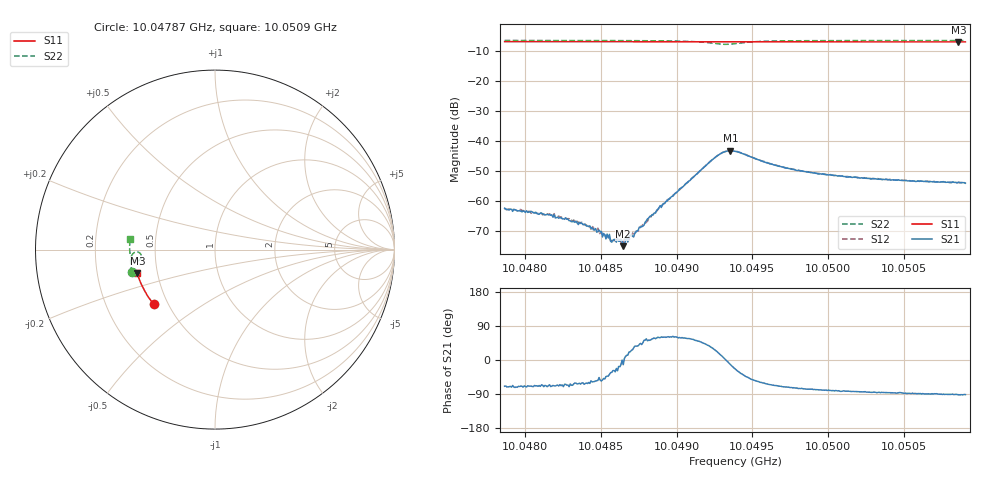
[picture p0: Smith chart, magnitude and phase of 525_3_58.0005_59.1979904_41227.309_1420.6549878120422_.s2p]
#  HZ  S  RI  R  50.00
! Rohde & Schwarz Vector Network Analyzer
! Rohde-Schwarz,ZNB20-2Port,1311601062101988,3.16
! Created: UTC 3/21/2024, 1:13:52 AM
! freq[Hz]  re:S11  im:S11  re:S21  im:S21  re:S12  im:S12  re:S22  im:S22
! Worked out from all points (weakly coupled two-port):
!   401 points, 10.04787 GHz to 10.0509 GHz, reference 50 ohm
!   highest |S21| = -43.21 dB at 10.04936 GHz (marker M1); lowest = -75.1 dB at 10.04865 GHz (marker M2)
!   lowest |S11| = -6.9 dB at 10.05086 GHz (marker M3), VSWR 2.65, Z = 19.2 - j6.32 ohm
!   |S11| at or under -10 dB: nowhere
!   |S22| runs from -7.7 to -6.4 dB; largest |S21 - S12| = 0.00048
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1.0047867e10  -0.3424 -0.3033  0.000269 -0.000711  0.000313 -0.00067  -0.4609 -0.1274
1.0048178e10  -0.3552 -0.2872  0.000213 -0.00054  0.000258 -0.000523  -0.4654 -0.1058
1.0048376e10  -0.3629 -0.2768  0.000212 -0.000373  0.000225 -0.000382  -0.4679 -0.0915
1.0048467e10  -0.3664 -0.272  0.000197 -0.000285  0.000233 -0.000237  -0.4686 -0.0847
1.0048573e10  -0.3704 -0.2661  0.000174 -0.000111  0.000185 -0.000124  -0.4695 -0.0765
1.0048611e10  -0.3717 -0.264  0.000211 -0.000114  0.000205 -8.67e-05  -0.4695 -0.0734
1.0048626e10  -0.3724 -0.2633  0.000205 -6.57e-05  0.000212 -3.51e-05  -0.4698 -0.0722
1.0048649e10  -0.373 -0.2619  0.000172 -3.81e-05  0.000205 1.1e-05  -0.4697 -0.0704
1.0048664e10  -0.3738 -0.2612  0.000217 3.69e-05  0.000228 3.48e-05  -0.47 -0.0691
1.0048679e10  -0.3742 -0.2603  0.000202 4.53e-05  0.000224 6.01e-05  -0.47 -0.0678
1.0048725e10  -0.3759 -0.2577  0.000231 0.000172  0.000217 0.000165  -0.4699 -0.0639
1.004874e10  -0.3764 -0.2569  0.000251 0.000188  0.000232 0.000217  -0.4698 -0.0626
1.0048884e10  -0.3814 -0.249  0.000396 0.000664  0.000356 0.000667  -0.4689 -0.0491
1.0049249e10  -0.393 -0.2278  0.00461 0.00242  0.00448 0.00272  -0.4275 -0.0143
1.0049309e10  -0.3946 -0.2245  0.0065 0.000724  0.00643 0.00112  -0.4118 -0.0295
1.0049355e10  -0.396 -0.2222  0.00676 -0.00146  0.00688 -0.000991  -0.4123 -0.0476
1.0049385e10  -0.3969 -0.2205  0.00621 -0.0027  0.00645 -0.00228  -0.4193 -0.057
1.0049651e10  -0.4051 -0.2051  0.00152 -0.00364  0.00175 -0.00361  -0.4666 -0.0425
1.0049894e10  -0.4118 -0.1907  0.000671 -0.0029  0.000825 -0.00288  -0.4738 -0.0181
1.0050403e10  -0.424 -0.1595  0.000148 -0.00227  0.000292 -0.00227  -0.4754 0.0218
1.0050858e10  -0.4328 -0.1309  -5.05e-05 -0.00205  7.08e-05 -0.00206  -0.4729 0.0539
1.0050904e10  -0.4337 -0.1281  -4.21e-05 -0.00198  4.03e-05 -0.00199  -0.4724 0.0569
